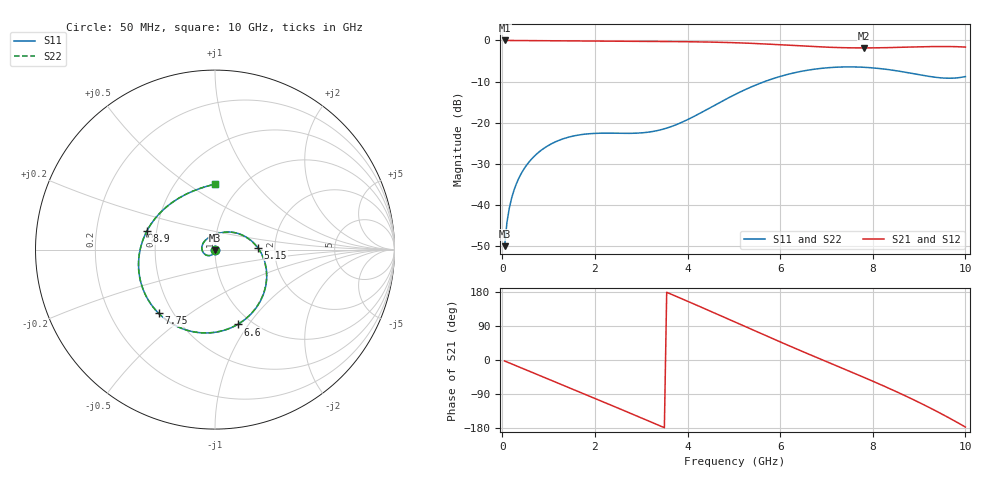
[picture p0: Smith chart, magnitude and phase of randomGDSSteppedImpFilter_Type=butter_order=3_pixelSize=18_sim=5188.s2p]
! freq	dB(S11)	phase(S11)	dB(S12)	phase(S12)
!  dB(S21)	phase(S21)	dB(S22)	phase(S22)
!S-par simulation data
#  GHz  S  DB  R 50
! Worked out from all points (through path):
!   200 points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, 50 MHz to 10 GHz, reference 50 ohm
!   highest |S21| = 0.00 dB at 50 MHz (marker M1); lowest = -1.8 dB at 7.8 GHz (marker M2)
!   group delay of S21, straight-line fit = 147 ps
!   lowest |S11| = -49.9 dB at 50 MHz (marker M3), VSWR 1.01, Z = 50 - j0.318 ohm
!   |S11| at or under -10 dB: start of sweep to 5.661 GHz
!   |S22| runs from -49.9 to -6.4 dB; largest |S21 - S12| = 0
!   S11 on the Smith chart (normalised r, x): 50 MHz: 1.00, -0.01; 5.15 GHz: 1.63, +0.04; 6.6 GHz: 0.86, -0.89; 7.75 GHz: 0.42, -0.38; 8.9 GHz: 0.44, +0.11; 10 GHz: 0.77, +0.64
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0.05  -49.94 -87.1  -0.00 -2.6  -0.00 -2.6  -49.94 -87.1
0.1  -44.22 -92.0  -0.01 -5.1  -0.01 -5.1  -44.22 -92.0
0.2  -38.34 -99.0  -0.02 -10.2  -0.02 -10.2  -38.34 -99.0
0.5  -30.66 -115.9  -0.04 -25.4  -0.04 -25.4  -30.66 -115.9
1.15  -24.60 -149.9  -0.08 -58.3  -0.08 -58.3  -24.60 -149.9
1.75  -22.79 179.2  -0.12 -88.7  -0.12 -88.7  -22.79 179.2
2.5  -22.54 140.3  -0.17 -126.9  -0.17 -126.9  -22.54 140.2
3.4  -21.75 93.4  -0.24 -173.4  -0.24 -173.4  -21.75 93.1
4.15  -18.38 54.6  -0.33 147.1  -0.33 147.1  -18.38 54.2
4.6  -15.65 31.3  -0.42 123.1  -0.42 123.1  -15.65 30.9
5.05  -12.99 7.8  -0.56 98.9  -0.56 98.9  -12.99 7.3
5.15  -12.44 2.5  -0.60 93.5  -0.60 93.5  -12.44 2.1
5.8  -9.45 -31.7  -0.93 58.5  -0.93 58.5  -9.45 -32.1
6.6  -7.21 -73.1  -1.42 16.3  -1.42 16.3  -7.22 -73.6
6.7  -7.04 -78.2  -1.48 11.2  -1.48 11.2  -7.04 -78.7
7.2  -6.50 -103.6  -1.71 -14.5  -1.71 -14.5  -6.51 -104.0
7.75  -6.49 -131.6  -1.82 -42.8  -1.82 -42.8  -6.49 -132.1
7.8  -6.51 -134.2  -1.82 -45.4  -1.82 -45.4  -6.52 -134.7
8.35  -7.10 -163.6  -1.74 -74.7  -1.74 -74.7  -7.10 -164.1
8.9  -8.11 164.6  -1.58 -106.0  -1.58 -106.0  -8.12 164.2
9.4  -9.00 132.6  -1.48 -136.7  -1.48 -136.7  -9.00 132.1
10  -8.77 89.8  -1.61 -176.9  -1.61 -176.9  -8.76 89.7
